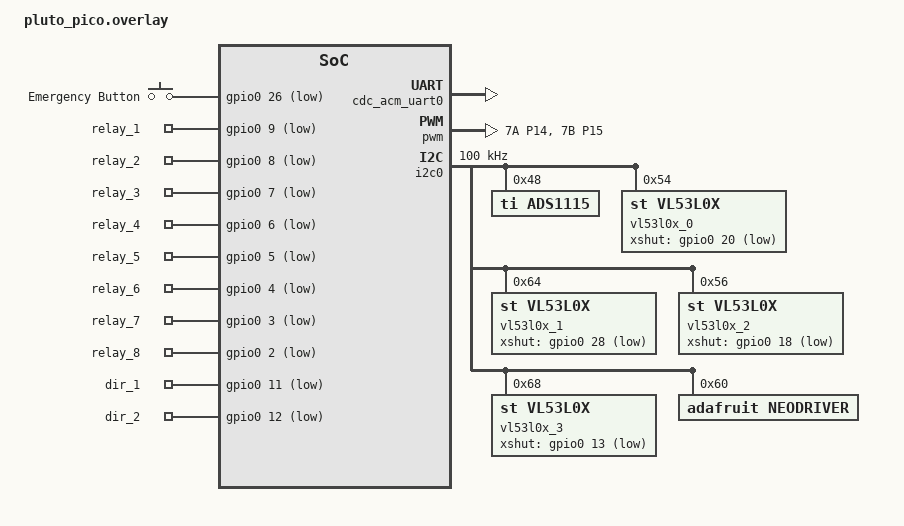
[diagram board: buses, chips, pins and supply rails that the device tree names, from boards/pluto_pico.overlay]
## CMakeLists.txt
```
#-------------------------------------------------------------------------------
# Zephyr Example Application
#
# Copyright (c) 2021 Nordic Semiconductor ASA
# SPDX-License-Identifier: Apache-2.0

cmake_minimum_required(VERSION 3.13.1)
set(BOARD pluto_pico)
set(CONF_FILE "prj.conf")
find_package(Zephyr REQUIRED HINTS $ENV{ZEPHYR_BASE})

project(app LANGUAGES C)
# Add your source files
FILE(GLOB app_sources src/*.c)
target_sources(app PRIVATE ${app_sources})
```

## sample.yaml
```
# This file is provided so that the application can be compiled using Twister,
# the Zephyr testing tool. In this file, multiple combinations can be specified,
# so that you can easily test all of them locally or in CI.
sample:
  description: Example application
  name: pluto_pico
common:
  build_only: true
  integration_platforms:
    - rpi_pico
tests:
  app.default: {}
```

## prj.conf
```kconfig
# Copyright (c) 2021 Nordic Semiconductor ASA
# SPDX-License-Identifier: Apache-2.0
#
# This file contains selected Kconfig options for the application.

CONFIG_GPIO=y
CONFIG_GPIO_SHELL=y
CONFIG_PWM=y
CONFIG_PWM_SHELL=y
CONFIG_I2C=y
CONFIG_I2C_SHELL=y
CONFIG_SENSOR=y
CONFIG_VL53L0X=y
CONFIG_VL53L0X_PROXIMITY_THRESHOLD=100
CONFIG_VL53L0X_RECONFIGURE_ADDRESS=y

CONFIG_SHELL=y
# I2C-MCP9808
CONFIG_USB_DEVICE_STACK=y
CONFIG_USB_DEVICE_PRODUCT="pluto-pico"
CONFIG_USB_DEVICE_PID=0x0004
CONFIG_USB_DEVICE_VID=0x1234
CONFIG_USB_DEVICE_INITIALIZE_AT_BOOT=n
CONFIG_LOG=y
CONFIG_LOG_DEFAULT_LEVEL=2
CONFIG_LOG_CMDS=y
CONFIG_SERIAL=y
CONFIG_CONSOLE=y
CONFIG_UART_CONSOLE=y
CONFIG_UART_LINE_CTRL=y
CONFIG_UART_INTERRUPT_DRIVEN=y
```

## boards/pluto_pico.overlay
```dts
/*
 * Copyright (c) 2021 Nordic Semiconductor ASA
 *
 * SPDX-License-Identifier: Apache-2.0
 */

/ {
    chosen {
        zephyr,shell-uart = &cdc_acm_uart0;
    };
};

&zephyr_udc0 {
    cdc_acm_uart0: cdc_acm_uart0 {
        compatible = "zephyr,cdc-acm-uart";
    };
};

&pwm {
    status = "okay";
    pinctrl-0 = <&my_pwm_pinctrl>;
    pinctrl-names = "default";
    divider-frac-0 = <15>;
    divider-int-0 = <255>;
    pwm_leds {
        compatible = "pwm-leds";
        status = "okay";
        pwm_motor1: pwm_motor_1 {
            pwms = <&pwm 14 PWM_USEC(50) PWM_POLARITY_NORMAL>;
            label = "PWM_1";
        };
        pwm_motor2: pwm_motor_2 {
            pwms = <&pwm 15 PWM_USEC(50) PWM_POLARITY_NORMAL>;
            label = "PWM_2";
        };
    };
};

&i2c0 {
    pinctrl-0 = <&my_i2c0_pinctrl>;
    status = "okay";
    pinctrl-names = "default";
    clock-frequency = <100000>;
    ads1115: ads1115@48 {
        compatible = "ti,ads1115";
        #io-channel-cells = <1>;
        reg = <0x48 >;
        label = "ADS1115";
    };
    vl53l0x_0: vl53l0x_0@54 {
        compatible = "st,vl53l0x";
        reg = <0x54>;
        xshut-gpios = <&gpio0 20 GPIO_ACTIVE_LOW>; // GPIO1 of vl53l0x_0
    };
    vl53l0x_1: vl53l0x_1@64 {
        compatible = "st,vl53l0x";
        reg = <0x64>;
        xshut-gpios = <&gpio0 28 GPIO_ACTIVE_LOW>; // GPIO pin for sensor power control
    };
    vl53l0x_2: vl53l0x_2@56 {
        compatible = "st,vl53l0x";
        reg = <0x56>;
        xshut-gpios = <&gpio0 18 GPIO_ACTIVE_LOW>; // GPIO1 of vl53l0x_2
    };
    vl53l0x_3: vl53l0x_3@68 {
        compatible = "st,vl53l0x";
        reg = <0x68>;
        xshut-gpios = <&gpio0 13 GPIO_ACTIVE_LOW>; // GPIO pin for sensor power control
    };
    neodriver: neodriver@60 {
        compatible = "adafruit,neodriver";
        reg = <0x60>;
        label = "NEODRIVER";
    };
};

/ {
    gpio_keys {
        compatible = "gpio-keys";
        emergency_button: emergency_button {
            label = "Emergency Button";
            gpios = <&gpio0 26 GPIO_ACTIVE_LOW>;
        };
        relay1: relay_1 {
            label = "relay_1";
            gpios = <&gpio0 9 GPIO_ACTIVE_LOW>;
        };
        relay2: relay_2 {
            label = "relay_2";
            gpios = <&gpio0 8 GPIO_ACTIVE_LOW>;
        };
        relay3: relay_3 {
            label = "relay_3";
            gpios = <&gpio0 7 GPIO_ACTIVE_LOW>;
        };
        relay4: relay_4 {
            label = "relay_4";
            gpios = <&gpio0 6 GPIO_ACTIVE_LOW>;
        };
        relay5: relay_5 {
            label = "relay_5";
            gpios = <&gpio0 5 GPIO_ACTIVE_LOW>;
        };
        relay6: relay_6 {
            label = "relay_6";
            gpios = <&gpio0 4 GPIO_ACTIVE_LOW>;
        };
        relay7: relay_7 {
            label = "relay_7";
            gpios = <&gpio0 3 GPIO_ACTIVE_LOW>;
        };
        relay8: relay_8 {
            label = "relay_8";
            gpios = <&gpio0 2 GPIO_ACTIVE_LOW>;
        };
        dir1: dir_1 {
            label = "dir_1";
            gpios = <&gpio0 11 GPIO_ACTIVE_LOW>;
        };
        dir2: dir_2 {
            label = "dir_2";
            gpios = <&gpio0 12 GPIO_ACTIVE_LOW>;
        };
    };

    aliases {
        embutton = &emergency_button;
        relay1 = &relay1;
        relay2 = &relay2;
        relay3 = &relay3;
        relay4 = &relay4;
        relay5 = &relay5;
        relay6 = &relay6;
        relay7 = &relay7;
        relay8 = &relay8;
        dir1 = &dir1;
        dir2 = &dir2;
        pwm1 = &pwm_motor1;
        pwm2 = &pwm_motor2;
    };

};

&pinctrl {
    my_pwm_pinctrl: my_pwm_pinctrl {
        group1 {
            pinmux = <PWM_7A_P14>,
                     <PWM_7B_P15>;
        };
    };
    my_i2c0_pinctrl: my_i2c0_pinctrl {
        group1 {
            pinmux = <I2C0_SDA_P16>, <I2C0_SCL_P17>;
            input-enable;
            input-schmitt-enable;
        };
    };
};
```

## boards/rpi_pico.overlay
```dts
/*
 * Copyright (c) 2021 Nordic Semiconductor ASA
 *
 * SPDX-License-Identifier: Apache-2.0
 */

/ {
    chosen {
        zephyr,shell-uart = &cdc_acm_uart0;
    };
};

&zephyr_udc0 {
    cdc_acm_uart0: cdc_acm_uart0 {
        compatible = "zephyr,cdc-acm-uart";
    };
};

&pwm {
    status = "okay";
    pinctrl-0 = <&my_pwm_pinctrl>;
    pinctrl-names = "default";
    divider-frac-0 = <15>;
    divider-int-0 = <255>;
    pwm_leds {
        compatible = "pwm-leds";
        status = "okay";
        pwm_motor1: pwm_motor_1 {
            pwms = <&pwm 14 PWM_USEC(50) PWM_POLARITY_NORMAL>;
            label = "PWM_1";
        };
        pwm_motor2: pwm_motor_2 {
            pwms = <&pwm 15 PWM_USEC(50) PWM_POLARITY_NORMAL>;
            label = "PWM_2";
        };
    };
};

&i2c0 {
    pinctrl-0 = <&my_i2c0_pinctrl>;
    status = "okay";
    pinctrl-names = "default";
    clock-frequency = <100000>;
    vl53l0x_0: vl53l0x_0@30 {
        compatible = "st,vl53l0x";
        reg = <0x30>;
        xshut-gpios = <&gpio0 21 GPIO_ACTIVE_LOW>; // GPIO pin for sensor power control
    };
    vl53l0x_1: vl53l0x_1@31 {
        compatible = "st,vl53l0x";
        reg = <0x31>;
        xshut-gpios = <&gpio0 28 GPIO_ACTIVE_LOW>; // GPIO pin for sensor power control
    };
    vl53l0x_2: vl53l0x_2@32 {
        compatible = "st,vl53l0x";
        reg = <0x32>;
        xshut-gpios = <&gpio0 18 GPIO_ACTIVE_LOW>; // GPIO pin for sensor power control
    };
    vl53l0x_3: vl53l0x_3@33 {
        compatible = "st,vl53l0x";
        reg = <0x33>;
        xshut-gpios = <&gpio0 13 GPIO_ACTIVE_LOW>; // GPIO pin for sensor power control
    };
};

/ {
    gpio_keys {
        compatible = "gpio-keys";
        relay1: relay_1 {
            label = "relay_1";
            gpios = <&gpio0 9 GPIO_ACTIVE_LOW>;
        };
        relay2: relay_2 {
            label = "relay_2";
            gpios = <&gpio0 8 GPIO_ACTIVE_LOW>;
        };
        relay3: relay_3 {
            label = "relay_3";
            gpios = <&gpio0 7 GPIO_ACTIVE_LOW>;
        };
        relay4: relay_4 {
            label = "relay_4";
            gpios = <&gpio0 6 GPIO_ACTIVE_LOW>;
        };
        relay5: relay_5 {
            label = "relay_5";
            gpios = <&gpio0 5 GPIO_ACTIVE_LOW>;
        };
        relay6: relay_6 {
            label = "relay_6";
            gpios = <&gpio0 4 GPIO_ACTIVE_LOW>;
        };
        relay7: relay_7 {
            label = "relay_7";
            gpios = <&gpio0 3 GPIO_ACTIVE_LOW>;
        };
        relay8: relay_8 {
            label = "relay_8";
            gpios = <&gpio0 2 GPIO_ACTIVE_LOW>;
        };
        dir1: dir_1 {
            label = "dir_1";
            gpios = <&gpio0 11 GPIO_ACTIVE_LOW>;
        };
        dir2: dir_2 {
            label = "dir_2";
            gpios = <&gpio0 12 GPIO_ACTIVE_LOW>;
        };
    };

    aliases {
        relay1 = &relay1;
        relay2 = &relay2;
        relay3 = &relay3;
        relay4 = &relay4;
        relay5 = &relay5;
        relay6 = &relay6;
        relay7 = &relay7;
        relay8 = &relay8;
        dir1 = &dir1;
        dir2 = &dir2;
        pwm1 = &pwm_motor1;
        pwm2 = &pwm_motor2;
    };

};

&pinctrl {
    my_pwm_pinctrl: my_pwm_pinctrl {
        group1 {
            pinmux = <PWM_7A_P14>,
                     <PWM_7B_P15>;
        };
    };
    my_i2c0_pinctrl: my_i2c0_pinctrl {
        group1 {
            pinmux = <I2C0_SDA_P16>, <I2C0_SCL_P17>;
            input-enable;
            input-schmitt-enable;
        };
    };
};
```

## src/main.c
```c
/*
 * Copyright (c) Jannis Ruellmann 2024
 *
 * SPDX-License-Identifier: Apache-2.0
 */
/**
 * @file main.c
 * @brief Main entry point for the Pluto_pico project
 *
 * This file contains the main function of the Pluto_pico project. It initializes the
 * system, sets up the USB communication, and starts the LED control thread. This serves
 * as the primary management function for the application's operation.
 *
 * The main function initializes the USB device controller and waits for the Data Terminal
 * Ready (DTR) signal. Once the DTR signal is received, it initializes the user LED module
 * and enters a loop that periodically prints "Hello World!" to the console. The LED thread
 * runs concurrently, toggling the state of an LED at regular intervals.
 *
 * @note This application is designed to run on Zephyr RTOS and demonstrates basic usage of
 *       USB communication and threading with the Zephyr kernel.
 *
 * @author Jannis Ruellmann
 */

#include "inc/usb_cli.h"
#include "inc/user_led.h"
#include "inc/pluto_relays.h"
#include "inc/pluto_motordriver.h"
#include "inc/pluto_vl53l0x.h"
#include "inc/pluto_em_button.h"

/**
 * @brief Entry point for the Pluto_pico application.
 *
 * This is the main function for the Pluto_pico project. It performs the following key tasks:
 * - Initializes the USB device controller.
 * - Waits for the Data Terminal Ready (DTR) signal.
 * - Initializes and starts the user LED control thread.
 * - Enters a loop that periodically prints "Hello World!" to the console.
 *
 * The function sets up a continuous communication channel via USB and initializes the
 * LED control functionality. The system will continually operate within the main loop,
 * providing periodic updates to the console and maintaining LED control operations.
 *
 * @return int The return value is zero for successful execution and non-zero in case of error.
 */
int main(void) {
    /* Initialize and start the USB CLI thread */
    usb_cli_init();
    /* Initialize and start the user_led thread */
    user_led_init();
    /* Init relays */
    relay_init();
    /* Init motordriver */
    motordriver_init();
    /* Init vl53l0x*/
    vl53l0x_init();
    /* Init emrgency_button */
    emergency_button_init();
    /* Init mcp9808 temperature sensors */
    //mcp9808_pluto_init();
    return 0;
}
```

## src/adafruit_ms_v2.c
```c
//
// Created by Jannis on 21.12.2023.
//
#include <zephyr/drivers/gpio.h>
#include <zephyr/drivers/i2c.h>
#include <devicetree_generated.h>
#include <zephyr/sys/printk.h>

#include <zephyr/device.h>
#include <zephyr/kernel.h>
#include <string.h>

#include "inc/adafruit_ms_v2.h"

#define NODE_I2C DT_NODELABEL(i2c0)

uint32_t i2c_cfg = I2C_SPEED_SET(I2C_SPEED_STANDARD) | I2C_MODE_CONTROLLER;


void adafruit_ms_v2_init() {
    const struct device *dev = DEVICE_DT_GET(NODE_I2C);
    if (!device_is_ready(dev)) {
        printk("Device not ready\n");
        //LOG_ERR("Device not ready");
    }
    printk("Found i2c device!\n");
}
```

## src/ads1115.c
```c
/*
 * Copyright (c) Jannis Ruellmann 2024
 *
 * SPDX-License-Identifier: Apache-2.0
 */

#include "inc/ads1115.h"
#include <zephyr/kernel.h>
#include <zephyr/drivers/i2c.h>
#include <stdlib.h>

#define ADS_NODE DT_NODELABEL(ads1115)
static const struct i2c_dt_spec ads_i2c = I2C_DT_SPEC_GET(ADS_NODE);

uint8_t ads1115_txBuff[3];
uint8_t ads1115_rxBuff[2];

static void ADS1115_WriteRegister(ADS1115 *ads1115_module, uint8_t reg, uint16_t value);
static int16_t ADS1115_ReadRegister(ADS1115 *ads1115_module, uint8_t reg);
static float get_lsb_multiplier(adsGain_t gain);
static uint32_t get_delay_msec(adsSPS_t sps);
static uint16_t get_adc_config(ADS1115 *ads1115_module);

void ADS1115_WriteRegister (ADS1115 *ads1115_module, uint8_t reg, uint16_t value){
    ads1115_txBuff[0] = reg;
    ads1115_txBuff[1] = (value >> 8);
    ads1115_txBuff[2] = (value & 0xFF);

    i2c_write_dt(&ads_i2c,ads1115_txBuff,3);
}

int16_t ADS1115_ReadRegister(ADS1115 *ads1115_module, uint8_t reg){
    ads1115_txBuff[0] = reg;

    i2c_write_dt(&ads_i2c,ads1115_txBuff,1);
    i2c_read_dt(&ads_i2c,ads1115_rxBuff,2);

    return (ads1115_rxBuff[0] << 8) | ads1115_rxBuff[1];
}

float get_lsb_multiplier(adsGain_t gain){
    float lsb_multiplier=0;
    switch (gain) {
        case (GAIN_TWOTHIRDS):
            lsb_multiplier = 0.1875;
            break;
        case (GAIN_ONE):
            lsb_multiplier = 0.125;
            break;
        case (GAIN_TWO):
            lsb_multiplier = 0.0625;
            break;
        case (GAIN_FOUR):
            lsb_multiplier = 0.03125;
            break;
        case (GAIN_EIGHT):
            lsb_multiplier = 0.015625;
            break;
        case (GAIN_SIXTEEN):
            lsb_multiplier = 0.0078125;
            break;
        default:
            lsb_multiplier = 0.0625;
            break;
    }
    return lsb_multiplier;
}

uint32_t get_delay_msec(adsSPS_t sps){
    uint32_t delay = 0;
    switch (sps) {
        case (SPS_8):
            delay = 125;
            break;
        case (SPS_16):
            delay = 63;
            break;
        case (SPS_32):
            delay = 32;
            break;
        case (SPS_64):
            delay = 16;
            break;
        case (SPS_128):
            delay = 8;
            break;
        case (SPS_250):
            delay = 4;
            break;
        case (SPS_475):
            delay = 3;
            break;
        case (SPS_860):
            delay = 2;
            break;
        default:
            delay = 8;
            break;
    }
    return delay;
}

uint16_t get_adc_config(ADS1115 *ads1115_module){
    ads1115_module->m_conversionDelay = get_delay_msec(ads1115_module->m_samplingRate);
    ads1115_module->m_lsbMultiplier = get_lsb_multiplier(ads1115_module->m_gain)/1000;

    return
            ADS1115_REG_CONFIG_CQUE_NONE |    // Disable the comparator (default val)
            ADS1115_REG_CONFIG_CLAT_NONLAT |  // Non-latching (default val)
            ADS1115_REG_CONFIG_CPOL_ACTVLOW | // Alert/Rdy active low   (default val)
            ads1115_module->m_compMode |							// Comparator Mode
            ads1115_module->m_samplingRate |					// Sampling Rate
            ads1115_module->m_gain |									// PGA Gain
            ads1115_module->m_mode;									// ADC mode
}

/**************************************************************************/
/*!
    @brief  Instantiates a new ADS1115 struct w/appropriate properties
    @param  Device struct
*/
/**************************************************************************/
void ADS1115_init(ADS1115 *ads1115_module){
    // Start with default values
    ads1115_module->m_samplingRate = SPS_128;							// 128 samples per second (default)
    ads1115_module->m_mode 		= ADS1115_REG_CONFIG_MODE_SINGLE;	// Single-shot mode (default)
    ads1115_module->m_gain 		= GAIN_TWOTHIRDS;					// +/- 6.144V range (limited to VDD +0.3V max!)
    ads1115_module->m_compMode 	= CMODE_TRAD;						// Traditional comparator (default val)

    ads1115_module->config =
            ADS1115_REG_CONFIG_CQUE_NONE |    // Disable the comparator (default val)
            ADS1115_REG_CONFIG_CLAT_NONLAT |  // Non-latching (default val)
            ADS1115_REG_CONFIG_CPOL_ACTVLOW | // Alert/Rdy active low   (default val)
            ads1115_module->m_compMode |				// Comparator Mode
            ads1115_module->m_samplingRate |			// Sampling Rate
            ads1115_module->m_gain |					// PGA Gain
            ads1115_module->m_mode;					// ADC mode

    ads1115_module->m_conversionDelay = (uint8_t)ADS1115_CONVERSIONDELAY;
}

/**************************************************************************/
/*!
    @brief  Reset a ADS1115
    @param  Device struct
*/
/**************************************************************************/
void ADS1115_reset(ADS1115 *ads1115_module){
//	uint8_t cmd = 0x06;
    ads1115_txBuff[0] = 0x06;

    i2c_write_dt(&ads_i2c,ads1115_txBuff,1);
}

/**************************************************************************/
/*!
    @brief  Sets the gain and input voltage range
    @param gain gain setting to use
*/
/**************************************************************************/
void ADS1115_setGain(ADS1115 *ads1115_module, adsGain_t gain){
    ads1115_module->m_gain = gain;
}

/**************************************************************************/
/*!
    @brief  Gets a gain and input voltage range
    @return the gain setting
*/
/**************************************************************************/
adsGain_t ADS1115_getGain(ADS1115 *ads1115_module){
    return ads1115_module->m_gain;
}

/**************************************************************************/
/*!
    @brief  Sets the Sampling rate
		@param  sps: sampling rate to use
*/
/**************************************************************************/
void ADS1115_setSPS(ADS1115 *ads1115_module, adsSPS_t sps){
    ads1115_module->m_samplingRate = sps;
}

/**************************************************************************/
/*!
    @brief  Gets the Sampling rate
    @return the sampling rate
*/
/**************************************************************************/
adsSPS_t ADS1115_getSPS(ADS1115 *ads1115_module){
    return ads1115_module->m_samplingRate;
}

/**************************************************************************/
/*!
    @brief  Sets a ADC conversion mode setting
    @param  mode
*/
/**************************************************************************/
void ADS1115_setCONV(ADS1115 *ads1115_module, adsCONV_t mode){
    ads1115_module->m_mode = mode;
}

/**************************************************************************/
/*!
    @brief  Gets a ADC conversion mode setting
    @return the conversion setting
*/
/**************************************************************************/
adsCONV_t ADS1115_getCONV(ADS1115 *ads1115_module){
    return ads1115_module->m_mode;
}

/**************************************************************************/
/*!
    @brief  Gets a single-ended ADC reading from the specified channel
    @param channel ADC channel to read
    @return the ADC reading
*/
/**************************************************************************/
float ADS1115_readADC(ADS1115 *ads1115_module, adc_Ch_t channel){
    if ((channel & ~ADS1115_REG_CONFIG_MUX_MASK) != 0) {
        return 0;
    }

    uint16_t config = get_adc_config(ads1115_module);;
    config |= channel;
    config |= ADS1115_REG_CONFIG_OS_SINGLE;

    ads1115_module->config = config;

    uint16_t ret_val;
    do{
        ret_val = ADS1115_ReadRegister(ads1115_module, ADS1115_REG_POINTER_CONFIG);
    }
    while( (ret_val & ADS1115_REG_CONFIG_OS_MASK) == ADS1115_REG_CONFIG_OS_BUSY);

    do{
        ADS1115_WriteRegister(ads1115_module, ADS1115_REG_POINTER_CONFIG, config);
        ret_val = ADS1115_ReadRegister(ads1115_module, ADS1115_REG_POINTER_CONFIG);
    }while( (ret_val & ADS1115_REG_CONFIG_MUX_MASK) != (config & ADS1115_REG_CONFIG_MUX_MASK) );

    k_sleep(K_MSEC(ads1115_module->m_conversionDelay));

    do{
        ret_val = ADS1115_ReadRegister(ads1115_module, ADS1115_REG_POINTER_CONFIG);
    }
    while( (ret_val & ADS1115_REG_CONFIG_OS_MASK) == ADS1115_REG_CONFIG_OS_BUSY);

    if(channel>ADS1115_REG_CONFIG_MUX_DIFF_2_3)
        return (float)abs(ADS1115_ReadRegister(ads1115_module, ADS1115_REG_POINTER_CONVERT)) * ads1115_module->m_lsbMultiplier;
    else
        return (float)ADS1115_ReadRegister(ads1115_module, ADS1115_REG_POINTER_CONVERT) * ads1115_module->m_lsbMultiplier;
}

/**************************************************************************/
/*!
    @brief  Gets a single-ended ADC reading from the specified channel
    @param channel ADC channel to read
    @return the ADC reading
*/
/**************************************************************************/
int16_t ADS1115_readADC_raw(ADS1115 *ads1115_module, adc_Ch_t channel){

    if ((channel & ~ADS1115_REG_CONFIG_MUX_MASK) != 0) {
        return 0;
    }

    uint16_t config = get_adc_config(ads1115_module);;
    config |= channel;
    config |= ADS1115_REG_CONFIG_OS_SINGLE;

    ads1115_module->config = config;

    uint16_t ret_val = ADS1115_REG_CONFIG_OS_BUSY;
    do{
        ret_val = ADS1115_ReadRegister(ads1115_module, ADS1115_REG_POINTER_CONFIG);
    }
    while( (ret_val & ADS1115_REG_CONFIG_OS_MASK) == ADS1115_REG_CONFIG_OS_BUSY);

    do{
        ADS1115_WriteRegister(ads1115_module, ADS1115_REG_POINTER_CONFIG, config);
        ret_val = ADS1115_ReadRegister(ads1115_module, ADS1115_REG_POINTER_CONFIG);
    }while( (ret_val & ADS1115_REG_CONFIG_MUX_MASK) != (config & ADS1115_REG_CONFIG_MUX_MASK) );

    k_sleep(K_MSEC(ads1115_module->m_conversionDelay));

    do{
        ret_val = ADS1115_ReadRegister(ads1115_module, ADS1115_REG_POINTER_CONFIG);
    }
    while( (ret_val & ADS1115_REG_CONFIG_OS_MASK) == ADS1115_REG_CONFIG_OS_BUSY);

    return ADS1115_ReadRegister(ads1115_module, ADS1115_REG_POINTER_CONVERT);
}

/**************************************************************************/
/*!
    @brief  Sets up the comparator to operate in basic mode, causing the
            ALERT/RDY pin to assert (go from high to low) when the ADC
            value exceeds the specified threshold.
            This will also set the ADC in continuous conversion mode.
    @param channel ADC channel to use
    @param threshold comparator threshold
*/
/**************************************************************************/
void ADS1115_startComparator_SingleEnded(ADS1115 *ads1115_module, uint8_t channel, int16_t threshold){
    // Start with default values
    uint16_t config =
            ADS1115_REG_CONFIG_CQUE_1CONV |   // Comparator enabled and asserts on 1 match
            ADS1115_REG_CONFIG_CLAT_LATCH |   // Latching mode
            ADS1115_REG_CONFIG_CPOL_ACTVLOW | // Alert/Rdy active low   (default val)
            ads1115_module->m_compMode |							// Comparator Mode
            ads1115_module->m_samplingRate |					// Sampling Rate
            ads1115_module->m_gain |									// ADC gain setting
            ADS1115_REG_CONFIG_MODE_CONTIN;   // Continuous conversion mode

    // Set single-ended input channel
    switch (channel) {
        case (0):
            config |= ADS1115_REG_CONFIG_MUX_SINGLE_0;
            break;
        case (1):
            config |= ADS1115_REG_CONFIG_MUX_SINGLE_1;
            break;
        case (2):
            config |= ADS1115_REG_CONFIG_MUX_SINGLE_2;
            break;
        case (3):
            config |= ADS1115_REG_CONFIG_MUX_SINGLE_3;
            break;
    }

    ads1115_module->config = config;

    // Set the high threshold register
    ADS1115_WriteRegister(ads1115_module, ADS1115_REG_POINTER_HITHRESH, threshold);

    // Write config register to the ADC
    ADS1115_WriteRegister(ads1115_module, ADS1115_REG_POINTER_CONFIG, config);
}

/**************************************************************************/
/*!
    @brief  In order to clear the comparator, we need to read the
            conversion results.  This function reads the last conversion
            results without changing the config value.
    @return the last ADC reading
*/
/**************************************************************************/
float ADS1115_getLastConversionResults(ADS1115 *ads1115_module){
    uint16_t ret_val = ADS1115_REG_CONFIG_OS_BUSY;
    // Wait for the conversion to complete
    k_sleep(K_MSEC(ads1115_module->m_conversionDelay));
    do{
        ret_val = ADS1115_ReadRegister(ads1115_module, ADS1115_REG_POINTER_CONFIG);
    }
    while( (ret_val & ADS1115_REG_CONFIG_OS_MASK) == ADS1115_REG_CONFIG_OS_BUSY);

    // Read the conversion results
    return (float)ADS1115_ReadRegister(ads1115_module, ADS1115_REG_POINTER_CONVERT) * ads1115_module->m_lsbMultiplier;
}

/************************************************************************/
```

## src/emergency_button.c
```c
/*
 * Copyright (c) Jannis Ruellmann 2024
 *
 * SPDX-License-Identifier: Apache-2.0
 */
/**
 * @file emergency_button.c
 * @brief Emergency Button Control Module
 *
 * This module provides a set of functions for managing an emergency button in an embedded system.
 * It includes capabilities to initialize the button, handle button press events, and configure
 * the system to stop motors when the button is pressed. The functions utilize GPIO (General-Purpose
 * Input/Output) pins to monitor the button state and trigger actions based on the button state.
 *
 * This module facilitates the integration of an emergency button into larger systems, allowing for
 * effective emergency stop functionality. It is designed to be easy to use and integrate into various
 * embedded systems requiring emergency stop capabilities.
 *
 * Key functionalities include:
 * - Initializing the emergency button GPIO pin.
 * - Handling button press events with interrupts.
 * - Configuring the system to stop motors on button press.
 *
 * The module is a part of a larger system and can be utilized in applications such as industrial control,
 * safety systems, and other scenarios where emergency stop functionality is essential.
 *
 * @author
 * Jannis Ruellmann
 */

#include <zephyr/drivers/gpio.h>
#include <zephyr/shell/shell.h>
#include <zephyr/logging/log.h>
#include <string.h>

#include "inc/emergency_button.h"
#include "inc/motordriver.h"
#include "inc/usb_cli.h"

/* Enable logging for module. Change Log Level for debugging. */
LOG_MODULE_REGISTER(emergency_button, LOG_LEVEL_WRN);

static const struct gpio_dt_spec em_button_0 = GPIO_DT_SPEC_GET_OR(EM_BUTTON_0, gpios, {0});

static struct gpio_callback emergency_button_cb_data;
static bool motor_stop_enabled = false;
static bool cleared_error = true;

/* Function prototypes */
bool get_em_button_by_name(const char *name);

/**
 * @brief Callback function for emergency button press events.
 *
 * This function is called when the state of the emergency button changes. If the
 * motor stop functionality is enabled, it stops the motors when the button is pressed.
 *
 * @param dev Pointer to the device structure for the driver instance.
 * @param cb Pointer to the GPIO callback structure.
 * @param pins Mask of pins that triggered the interrupt.
 */
void emergency_button_pressed(const struct device *dev, struct gpio_callback *cb, uint32_t pins)
{
    LOG_DBG("State of emergency button changed!");
    if (motor_stop_enabled) {
        if (cleared_error) {
            cleared_error = false;
            motordriver_stop_motors();
        }
    } else {
        LOG_DBG("Motor stop not enabled.");
    }
}

/**
 * @brief Get the state of the emergency button by name.
 *
 * This function retrieves the current state of the specified emergency button.
 *
 * @param name Name of the emergency button.
 * @return True if the button is pressed, false otherwise.
 */
bool get_em_button_by_name(const char *name) {
    bool state = false;
    if (strcmp(name, "em_0") == 0) {
        state = gpio_pin_get(em_button_0.port, em_button_0.pin);
        LOG_DBG("pin: %d has state: %d", em_button_0.pin, state);
    } else {
        LOG_ERR("em_button not known.");
    }
    return state;
}

static int cmd_em_button(const struct shell *shell, size_t argc, char **argv) {
    shell_error(shell, "Invalid subcommand or number of arguments.");
    return 0;
}

static int cmd_em_button_get_state(const struct shell *shell, size_t argc, char **argv) {
    if (argc == 1) {
        bool state = get_em_button_by_name("em_0");
        shell_print(shell, "%s", state ? "OK": "ERROR");
    } else {
        shell_error(shell, "Invalid number of arguments for subcommand");
    }
    return 0;
}

static int cmd_em_button_activate(const struct shell *shell, size_t argc, char **argv) {
    if (argc != 2) {
        shell_error(shell, "Invalid number of arguments. Usage: em_button activate <0|1>");
        return -EINVAL;
    }
    uint8_t enable = simple_strtou8(argv[1]);
    if (enable == 0u) {
        motor_stop_enabled = false;
        shell_print(shell, "%d", enable);
    } else if (enable == 1u) {
        motor_stop_enabled = true;
        cleared_error = true;
        shell_print(shell, "%d", enable);
    } else {
        shell_error(shell, "Invalid argument. Use 0 to disable, 1 to enable.");
        return -EINVAL;
    }

    return 0;
}

/**
 * @brief Initialize the emergency button.
 *
 * This function configures the GPIO pin for the emergency button and sets up the interrupt
 * to handle button press events.
 */
void emergency_button_init() {
    int ret;
    gpio_pin_configure_dt(&em_button_0, EMERGENCY_BUTTON_FLAGS);
    ret = gpio_pin_interrupt_configure(em_button_0.port, em_button_0.pin, GPIO_INT_EDGE_TO_ACTIVE);
    if (ret != 0) {
        LOG_ERR("Error %d: failed to configure interrupt on %d pin", ret,  em_button_0.pin);
        return;
    }
    gpio_init_callback(&emergency_button_cb_data, emergency_button_pressed, BIT(em_button_0.pin));
    gpio_add_callback(em_button_0.port, &emergency_button_cb_data);
}

/* Creating subcommands (level 1 command) array for command "relays". */
SHELL_STATIC_SUBCMD_SET_CREATE(sub_em_button,
                               SHELL_CMD(get, NULL, "Get state of emergency_button",
                                         cmd_em_button_get_state),
                               SHELL_CMD(config-mode, NULL, "Enable(1)/disable(0) motor stop on emergency button press. "
                                                    "Reactivate after event" , cmd_em_button_activate),
                                         SHELL_SUBCMD_SET_END
);

/* Creating root (level 0) command "relays" */
SHELL_CMD_REGISTER(em_btn, &sub_em_button, "configure emergency_button", cmd_em_button);
```

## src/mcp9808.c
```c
/*
 * Copyright (c) Jannis Ruellmann 2024
 *
 * SPDX-License-Identifier: Apache-2.0
 */
/**
 * @file mcp9808.c
 * @brief Relay Control Module
 *
 * This module provides a set of functions for controlling and querying the state
 * of relay modules in an embedded system. It includes capabilities to set the state
 * of individual relays or all relays simultaneously, retrieve the current state of
 * any relay, and interact with the relay module through a command-line interface.
 * The functions make use of GPIO (General-Purpose Input/Output) pins to manage
 * the relay states.
 *
 * This module facilitates the integration of relay control into larger systems,
 * allowing for effective management of power and signal control through relays.
 * It is designed to be easy to use and integrate into various embedded systems
 * requiring relay control functionality.
 *
 * Key functionalities include:
 * - Setting the state of individual or multiple relays.
 * - Querying the state of any relay.
 * - Command-line interface for relay control.
 * - Initialization and configuration of relay GPIO pins.
 *
 * The module is a part of a larger system and can be utilized in applications such
 * as home automation, industrial control, and other scenarios where relay control
 * is essential.
 *
 * @author Jannis Ruellmann
 */

#include <zephyr/drivers/gpio.h>
#include <devicetree_generated.h>
#include <zephyr/shell/shell.h>
#include <zephyr/logging/log.h>
#include <string.h>

#include "inc/mcp9808.h"
#include "inc/usb_cli.h"

/* Enable logging for module. Change Log Level for debugging. */
LOG_MODULE_REGISTER(mcp9808, LOG_LEVEL_DBG);

/* Function prototypes */
const char* get_mcp9808_name(int mcp9808_number);
double get_mcp9808_by_name(const char *name);

/**
 * @brief Get the name of the relay corresponding to a given relay number.
 *
 * This function returns the name of the relay as a string based on the
 * relay's number (0 to 7). If the relay number is out of range, it returns
 * "Unknown".
 *
 * **Usage**\n
 *     const char* name = get_relay_name(4); // Returns "relay_4"\n
 *
 * @param relay_number The number of the relay (0-7).
 * @return The name of the relay, or "Unknown" if the number is invalid.
 */
const char* get_mcp9808_name(int mcp9808_number) {
    switch (mcp9808_number) {
        case 0: return "mcp9808_0";
        case 1: return "mcp9808_1";
        case 2: return "mcp9808_2";
        default: return "Unknown";
    }
}

/**
 * @brief Get the current state of a specific relay by its name.
 *
 * Retrieves the current state of the relay specified by its name.
 * The function returns a boolean indicating the state of the relay
 * (true if the relay is ON, false if OFF).
 *
 * **Usage**\n
 *     bool state = get_relay_by_name("relay_2"); // Gets the state of relay_2
 *
 * @param name The name of the relay whose state is to be retrieved.
 * @return The current state of the specified relay (true for ON, false for OFF).
 */
double get_mcp9808_by_name(const char *name) {
    double temp = 69.0;
    if (strcmp(name, "mcp9808_0") == 0) {
        temp = 0.0;
    } else if (strcmp(name, "mcp9808_1") == 0) {
        temp = 1.0;
    } else if (strcmp(name, "mcp9808_2") == 0) {
        temp = 2.0;
    } else {
        LOG_ERR("mcp9808 not known.");
    }
    return temp;
}

/**
 * @brief Root command function for relays.
 *
 * This function is called if a wrong subcommand has been selected.
 * This is a root command (level 0 command).
 *
 * @param shell Pointer to the shell structure.
 * @param argc Number of arguments.
 * @param argv Array of arguments.
 * @return Returns 0 on success, or an error code on failure.
 */
static int cmd_mcp9808(const struct shell *shell, size_t argc, char **argv) {
    shell_error(shell, "Invalid subcommand or number of arguments.");
    return 0;
}

/**
 * @brief Gets the state of relay &lt;name&gt;
 *
 * This command is useful to get state of a specific relay.
 * This is a subcommand (level 1 command) array for command "relays".
 *
 * **Usage**\n
 *     relays --get-relay &lt;name&gt; \n
 *
 * @param shell Pointer to the shell structure.
 * @param argc Number of arguments.
 * @param argv Array of arguments;
 * @return Returns 0 on successful execution, or an error code on failure.
 */
static int cmd_mcp9808_get_temp(const struct shell *shell, size_t argc, char **argv) {
    if (argc == 2) {
        const char *name = argv[1];
        double temperature = get_mcp9808_by_name(name);
        shell_print(shell, "%f", temperature);
    } else {
        shell_error(shell, "Invalid number of arguments for subcommand");
    }
    return 0;
}

/**
 * @brief Lists names of all mcp9808 devices
 *
 * This command is useful to get names of all relays.
 * This is a subcommand (level 1 command) array for command "relays".
 *
 * **Usage**\n
 *     mcp9808 --list-sensors \n
 *
 * @param shell Pointer to the shell structure.
 * @param argc Number of arguments.
 * @param argv Array of arguments;
 * @return Returns 0 on successful execution, or an error code on failure.
 */
static int cmd_mcp9808_list_sensors(const struct shell *shell, size_t argc, char **argv) {
    if (argc == 1) {
        for (int i = 0; i <= 2; i++) {
            shell_print(shell, "%s", get_mcp9808_name(i));
        }
    } else {
        shell_error(shell, "Invalid number of arguments for subcommand");
    }
    return 0;
}

/**
 * @brief Initialize the relay module.
 *
 * This function sets up the GPIO pins connected to the relays (relay0 through relay7).
 * Each relay is configured as an output. After initialization, all relays are set to their
 * OFF state to ensure a known startup state. This function should be called at the start
 * of the program to prepare the relay hardware for operation.
 *
 */
void mcp9808_pluto_init() {
    LOG_INF("Initializing mcp9808 module");
}

/* Creating subcommands (level 1 command) array for command "mcp9808". */
SHELL_STATIC_SUBCMD_SET_CREATE(sub_mcp9808,
                               SHELL_CMD(get-temp, NULL, "Get temp value [°C] of temp sensor <name>.",
                                         cmd_mcp9808_get_temp),
                               SHELL_CMD(list-sensors, NULL, "List all mcp9808 sensor names.",
                                         cmd_mcp9808_list_sensors),
                               SHELL_SUBCMD_SET_END
);

/* Creating root (level 0) command "mcp9808" */
SHELL_CMD_REGISTER(mcp9808, &sub_mcp9808, "control temperature sensors.", cmd_mcp9808);
```

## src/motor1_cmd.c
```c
/*
 * Copyright (c) Jannis Ruellmann 2024
 *
 * SPDX-License-Identifier: Apache-2.0
 */
/**
 * @file motor1_cmd.c
 * @brief Functions for motor1 command
 *
 * This module provides a set of functions for controlling and querying the state
 * of motor1 via the pico-shell.
 *
 * @author Jannis Ruellmann
 */

#include <sys/cdefs.h>
#include <zephyr/drivers/gpio.h>
#include <zephyr/drivers/pwm.h>
#include <zephyr/sys/printk.h>
#include <zephyr/shell/shell.h>
#include <zephyr/device.h>

#include "inc/motordriver.h"
#include "inc/usb_cli.h"

/**
 * @brief Root command function for motor1.
 *
 * This function is called if a wrong subcommand has been selected.
 * This is a root command (level 0 command).
 *
 * @param shell Pointer to the shell structure.
 * @param argc Number of arguments.
 * @param argv Array of arguments.
 * @return Returns 0 on success, or an error code on failure.
 */
static int cmd_motor1(const struct shell *shell, size_t argc, char **argv) {
    shell_error(shell, "Invalid subcommand or number of arguments.");
    return 0;
}

/* Subcommand implementations motor1 */

static int cmd_motor1_set_dir(const struct shell *shell, size_t argc, char **argv) {
    if (argc == 2) {
        bool target_direction = simple_strtou8(argv[1]) != 0;
        motordriver_set_dir(&motor1, target_direction);
    } else {
        shell_error(shell, "Usage: motor1 set-dir <0/1>");
    }
    return 0;
}

static int cmd_motor1_set_speed(const struct shell *shell, size_t argc, char **argv) {
    if (argc == 2) {
        uint32_t target_speed = simple_strtou8(argv[1]);
        motordriver_adjust_motor_speed_non_blocking(&motor1, target_speed);
    } else {
        shell_error(shell, "Usage: motor1 set-speed <0-100>");
    }
    return 0;
}

static int cmd_motor1_unsafe_set_speed(const struct shell *shell, size_t argc, char **argv) {
    if (argc == 2) {
        uint32_t speed = simple_strtou8(argv[1]);
        set_speed(&motor1, speed);
    } else {
        shell_error(shell, "Usage: motor1 Zset-speed <0-100> (unsafe)");
    }
    return 0;
}

static int cmd_motor1_get_speed(const struct shell *shell, size_t argc, char **argv) {
    shell_print(shell, "%d", motor1.speed);
    return 0;
}

static int cmd_motor1_get_dir(const struct shell *shell, size_t argc, char **argv) {
    shell_print(shell, "%d", motor1.direction);
    return 0;
}

static int cmd_motor1_get_motor(const struct shell *shell, size_t argc, char **argv) {
    shell_print(shell, "name: %s\ndirection: %d\nspeed: %d\nacceleration_rate: %d\n"
                       "acceleration_rate_delay: %dms\nbraking_rate: %d\nbraking_rate_delay: %dms",
                motor1.name, motor1.direction, motor1.speed, motor1.acceleration_rate,
                motor1.acceleration_rate_delay, motor1.braking_rate, motor1.braking_rate_delay);
    return 0;
}

static int cmd_motor1_config_acc_rate(const struct shell *shell, size_t argc, char **argv) {
    if (argc == 2) {
        uint32_t acceleration_rate = simple_strtou8(argv[1]);
        if (acceleration_rate != 0 && acceleration_rate < 100) {
            motor1.acceleration_rate = acceleration_rate;
        } else {
            shell_error(shell, "Invalid acceleration rate.");
        }
    } else {
        shell_error(shell, "Usage: motor1 config-acc-rate <0-100>");
    }
    return 0;
}

static int cmd_motor1_config_brak_rate(const struct shell *shell, size_t argc, char **argv) {
    if (argc == 2) {
        uint32_t braking_rate = simple_strtou8(argv[1]);
        if (braking_rate != 0 && braking_rate < 100) {
            motor1.braking_rate = braking_rate;
        } else {
            shell_error(shell, "Invalid braking rate.");
        }
    } else {
        shell_error(shell, "Usage: motor1 config-brak-rate <0-100>");
    }
    return 0;
}

static int cmd_motor1_config_acc_rate_delay(const struct shell *shell, size_t argc, char **argv) {
    if (argc == 2) {
        int32_t acceleration_rate_delay = (int32_t)simple_strtou32(argv[1]);
        if (acceleration_rate_delay != 0) {
            motor1.acceleration_rate_delay = acceleration_rate_delay;
        } else {
            shell_error(shell, "Invalid acceleration rate delay.");
        }
    } else {
        shell_error(shell, "Usage: motor1 config-acc-rate-delay <ms>");
    }
    return 0;
}

static int cmd_motor1_config_brak_rate_delay(const struct shell *shell, size_t argc, char **argv) {
    if (argc == 2) {
        int32_t braking_rate_delay = (int32_t)simple_strtou32(argv[1]);
        if (braking_rate_delay != 0) {
            motor1.braking_rate_delay = braking_rate_delay;
        } else {
            shell_error(shell, "Invalid braking rate delay.");
        }
    } else {
        shell_error(shell, "Usage: motor1 config-brak-rate-delay <ms>");
    }
    return 0;
}

void cmd_motor1_init() {
    printk("Adding motor1 commands..\n");
}



/* Creating subcommands (level 1 command) array for command "motor1". */
SHELL_STATIC_SUBCMD_SET_CREATE(sub_motor1,
                               SHELL_CMD(set-dir, NULL, "Set motor direction <dir[1||0]>", cmd_motor1_set_dir),
                               SHELL_CMD(set-speed, NULL, "Set motor speed <speed[0..100]>", cmd_motor1_set_speed),
                               SHELL_CMD(Zset-speed, NULL, "Unsafe set motor speed (direct PWM) <speed[0..100]>", cmd_motor1_unsafe_set_speed),
                               SHELL_CMD(get-speed, NULL, "Get motor speed", cmd_motor1_get_speed),
                               SHELL_CMD(get-dir, NULL, "Get motor direction", cmd_motor1_get_dir),
                               SHELL_CMD(get-motor, NULL, "Get motor configuration", cmd_motor1_get_motor),
                               SHELL_CMD(config-acc-rate, NULL, "Configure acceleration rate <rate[0..99]>", cmd_motor1_config_acc_rate),
                               SHELL_CMD(config-brak-rate, NULL, "Configure braking rate <rate[0..99]>", cmd_motor1_config_brak_rate),
                               SHELL_CMD(config-acc-rate-delay, NULL, "Configure acceleration rate delay <delay[0..0xFFFF]>", cmd_motor1_config_acc_rate_delay),
                               SHELL_CMD(config-brak-rate-delay, NULL, "Configure braking rate delay <delay[0..0xFFFF]>", cmd_motor1_config_brak_rate_delay),
                               SHELL_SUBCMD_SET_END
);

SHELL_CMD_REGISTER(motor1, &sub_motor1,
                   "control motor1 of pico-pluto.",
                   cmd_motor1);
```

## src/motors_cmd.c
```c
/*
 * Copyright (c) Jannis Ruellmann 2024
 *
 * SPDX-License-Identifier: Apache-2.0
 */
/**
 * @file motors_cmd.c
 * @brief Functions for motor2 command
 *
 * This module provides a set of functions for controlling and querying the state
 * of motors via the pico-shell.
 *
 * @author Jannis Ruellmann
 */
#include <sys/cdefs.h>
#include <zephyr/drivers/gpio.h>
#include <zephyr/drivers/pwm.h>
#include <zephyr/sys/printk.h>
#include <zephyr/shell/shell.h>
#include <zephyr/device.h>

#include "inc/motordriver.h"
#include "inc/usb_cli.h"

/**
 * @brief Root command function for motor2.
 *
 * This function is called if a wrong subcommand has been selected.
 * This is a root command (level 0 command).
 *
 * @param shell Pointer to the shell structure.
 * @param argc Number of arguments.
 * @param argv Array of arguments.
 * @return Returns 0 on success, or an error code on failure.
 */
static int cmd_motors(const struct shell *shell, size_t argc, char **argv) {
    shell_error(shell, "Invalid subcommand or number of arguments.");
    return 0;
}

/* Subcommand implementations for motors */

static int cmd_motors_set(const struct shell *shell, size_t argc, char **argv) {
    if (argc == 5) {
        uint32_t speed_motor1 = simple_strtou32(argv[1]);
        bool dir_motor1 = simple_strtou32(argv[2]) != 0;
        uint32_t speed_motor2 = simple_strtou32(argv[3]);
        bool dir_motor2 = simple_strtou32(argv[4]) != 0;

        // Ensuring the speeds are within the valid range
        speed_motor1 = (speed_motor1 > 100) ? 100 : speed_motor1;
        speed_motor2 = (speed_motor2 > 100) ? 100 : speed_motor2;

        set_motors(&motor1, &motor2, speed_motor1, speed_motor2, dir_motor1, dir_motor2);
        shell_print(shell, "Motors set: Motor1 - Speed %d, Direction %d; Motor2 - Speed %d, Direction %d",
                    speed_motor1, dir_motor1, speed_motor2, dir_motor2);
    } else {
        shell_error(shell, "Usage: motors set <speed_motor1> <dir_motor1> <speed_motor2> <dir_motor2>");
    }
    return 0;
}

void cmd_motors_init() {
    printk("Adding motors commands..\n");
}

/* Creating subcommands (level 1 command) array for command "motors". */
SHELL_STATIC_SUBCMD_SET_CREATE(sub_motors,
                               SHELL_CMD(set,
                                         NULL,
                                         "Set both motors <speed_motor1> <dir_motor1> <speed_motor2> <dir_motor2>",
                                         cmd_motors_set),
                               SHELL_SUBCMD_SET_END
);
SHELL_CMD_REGISTER(motors, &sub_motors,
                   "control both motors of pico-pluto.",
                   cmd_motors);
```

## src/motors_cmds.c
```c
/*
 * Copyright (c) Jannis Ruellmann 2024
 *
 * SPDX-License-Identifier: Apache-2.0
 */
/**
 * @file motors_cmd.c
 * @brief Functions for motor2 command
 *
 * This module provides a set of functions for controlling and querying the state
 * of motors via the pico-shell.
 *
 * @author Jannis Ruellmann
 */
#include <sys/cdefs.h>
#include <zephyr/drivers/gpio.h>
#include <zephyr/drivers/pwm.h>
#include <zephyr/sys/printk.h>
#include <zephyr/shell/shell.h>
#include <zephyr/device.h>
#include <zephyr/logging/log.h>


#include "inc/motordriver.h"
#include "inc/usb_cli.h"

/* Enable logging for module. Change Log Level for debugging. */
LOG_MODULE_REGISTER(motors_cmds, LOG_LEVEL_WRN);

/**
 * @brief Root command function for motor2.
 *
 * This function is called if a wrong subcommand has been selected.
 * This is a root command (level 0 command).
 *
 * @param shell Pointer to the shell structure.
 * @param argc Number of arguments.
 * @param argv Array of arguments.
 * @return Returns 0 on success, or an error code on failure.
 */
static int cmd_motors(const struct shell *shell, size_t argc, char **argv) {
    shell_error(shell, "Invalid subcommand or number of arguments.");
    return 0;
}

/* Subcommand implementations for motors */

static int cmd_motors_set(const struct shell *shell, size_t argc, char **argv) {
    if (argc == 5) {
        uint32_t speed_motor1 = simple_strtou32(argv[1]);
        bool dir_motor1 = simple_strtou32(argv[2]) != 0;
        uint32_t speed_motor2 = simple_strtou32(argv[3]);
        bool dir_motor2 = simple_strtou32(argv[4]) != 0;

        // Ensuring the speeds are within the valid range
        speed_motor1 = (speed_motor1 > 100) ? 100 : speed_motor1;
        speed_motor2 = (speed_motor2 > 100) ? 100 : speed_motor2;
        shell_print(shell, "%d %d %d %d", speed_motor1, dir_motor1, speed_motor2, dir_motor2);
        set_motors(&motor1, &motor2, speed_motor1, speed_motor2, dir_motor1, dir_motor2);
        LOG_DBG("Motors set: Motor1 - Speed %d, Direction %d; Motor2 - Speed %d, Direction %d",
                    speed_motor1, dir_motor1, speed_motor2, dir_motor2);
    } else {
        LOG_ERR("Usage: motors set <speed_motor1> <dir_motor1> <speed_motor2> <dir_motor2>");
    }
    return 0;
}

void cmd_motors_init() {
    LOG_DBG("Adding motors commands.");
}

/* Creating subcommands (level 1 command) array for command "motors". */
SHELL_STATIC_SUBCMD_SET_CREATE(sub_motors,
                               SHELL_CMD(set,
                                         NULL,
                                         "Set both motors <speed_motor1> <dir_motor1> <speed_motor2> <dir_motor2>",
                                         cmd_motors_set),
                               SHELL_SUBCMD_SET_END
);
SHELL_CMD_REGISTER(motors, &sub_motors,
                   "control both motors of pico-pluto.",
                   cmd_motors);
```
